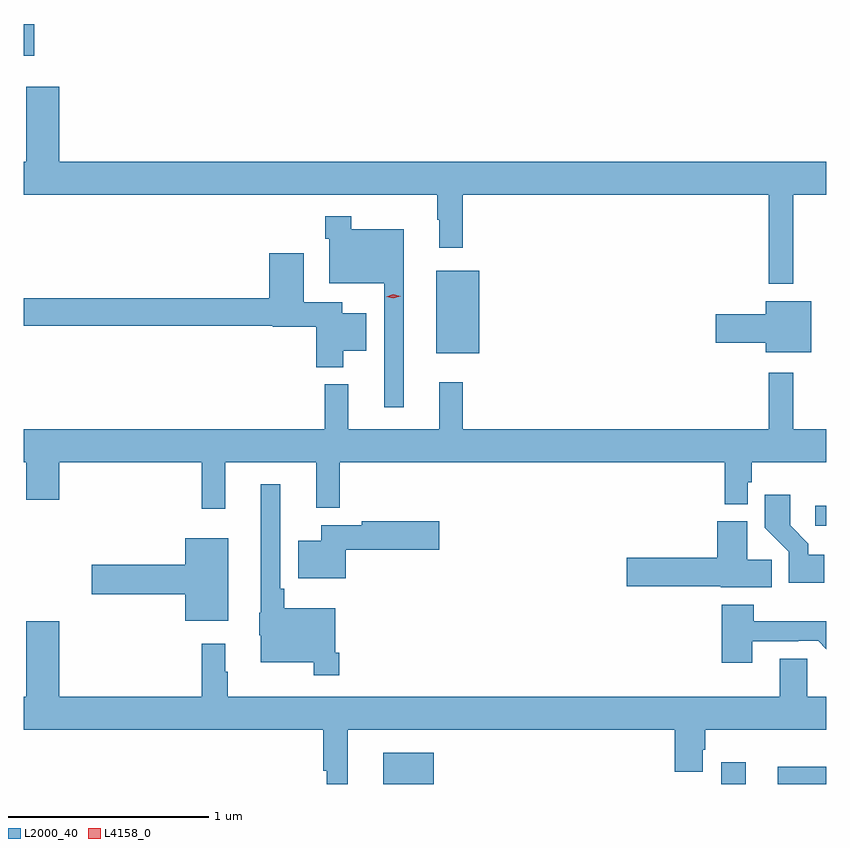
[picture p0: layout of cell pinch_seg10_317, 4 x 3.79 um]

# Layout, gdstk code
import gdstk
lib = gdstk.Library(unit=1e-6, precision=1e-09)
def R(c, l, rs):  # rectangles x0, y0, x1, y1
    for r in rs: c.add(gdstk.rectangle(r[:2], r[2:], *l))
def P(c, l, *ps):  # polygons
    for p in ps: c.add(gdstk.Polygon(p, *l))
L2000_40 = (2000, 40)
L4158_0 = (4158, 0)

pinch_seg10_317 = lib.new_cell('pinch_seg10_317')
R(pinch_seg10_317, L2000_40, [(406.547,1278.733,406.798,1278.889), (408.23,1278.733,408.352,1278.841), (408.513,1278.733,408.755,1278.818), (408.699,1280.019,408.755,1280.118), (406.811,1280.879,407.026,1281.289), (404.755,1282.361,404.809,1282.519)])
P(pinch_seg10_317, L2000_40, [(408.589,1281.668),(408.755,1281.668),(408.755,1281.832),(404.932,1281.832),(404.932,1282.207),(404.768,1282.207),(404.768,1281.832),(404.755,1281.832),(404.755,1281.668),(406.815,1281.668),(406.815,1281.545),(406.826,1281.545),(406.826,1281.405),(406.943,1281.405),(406.943,1281.668),(408.468,1281.668),(408.468,1281.224),(408.589,1281.224)],
  [(406.648,1281.496),(406.387,1281.496),(406.387,1281.562),(406.258,1281.562),(406.258,1281.449),(406.278,1281.449),(406.278,1281.227),(406.551,1281.227),(406.551,1280.61),(406.648,1280.61)],
  [(406.348,1280.891),(406.462,1280.891),(406.462,1281.079),(406.342,1281.079),(406.342,1281.133),(406.15,1281.133),(406.15,1281.376),(405.98,1281.376),(405.98,1281.152),(404.755,1281.152),(404.755,1281.016),(405.996,1281.016),(405.996,1281.011),(406.214,1281.011),(406.214,1280.81),(406.348,1280.81)],
  [(408.679,1281.139),(408.452,1281.139),(408.452,1281.074),(408.204,1281.074),(408.204,1280.932),(408.452,1280.932),(408.452,1280.885),(408.679,1280.885)],
  [(405.761,1280.336),(406.214,1280.336),(406.214,1280.108),(406.331,1280.108),(406.331,1280.336),(408.247,1280.336),(408.247,1280.126),(408.363,1280.126),(408.363,1280.235),(408.383,1280.235),(408.383,1280.336),(408.755,1280.336),(408.755,1280.5),(408.589,1280.5),(408.589,1280.782),(408.468,1280.782),(408.468,1280.5),(406.943,1280.5),(406.943,1280.734),(406.826,1280.734),(406.826,1280.5),(406.373,1280.5),(406.373,1280.725),(406.255,1280.725),(406.255,1280.5),(404.755,1280.5),(404.755,1280.336),(404.768,1280.336),(404.768,1280.148),(404.932,1280.148),(404.932,1280.336),(405.643,1280.336),(405.643,1280.103),(405.761,1280.103)],
  [(406.328,1279.387),(406.308,1279.387),(406.308,1279.609),(406.055,1279.609),(406.055,1279.705),(406.035,1279.705),(406.035,1280.227),(405.938,1280.227),(405.938,1279.587),(405.929,1279.587),(405.929,1279.473),(405.938,1279.473),(405.938,1279.34),(406.2,1279.34),(406.2,1279.275),(406.328,1279.275)],
  [(408.745,1279.876),(408.664,1279.876),(408.664,1279.931),(408.574,1280.021),(408.574,1280.173),(408.448,1280.173),(408.448,1280.01),(408.567,1279.891),(408.567,1279.736),(408.745,1279.736)],
  [(406.36,1279.901),(406.825,1279.901),(406.825,1280.043),(406.44,1280.043),(406.44,1280.023),(406.238,1280.023),(406.238,1279.945),(406.124,1279.945),(406.124,1279.757),(406.36,1279.757)],
  [(408.482,1279.85),(408.361,1279.85),(408.361,1280.041),(408.212,1280.041),(408.212,1279.86),(407.76,1279.86),(407.76,1279.718),(408.228,1279.718),(408.228,1279.712),(408.482,1279.712)],
  [(405.775,1279.957),(405.56,1279.957),(405.56,1279.826),(405.096,1279.826),(405.096,1279.679),(405.56,1279.679),(405.56,1279.547),(405.775,1279.547)],
  [(408.385,1279.443),(408.614,1279.443),(408.614,1279.446),(408.714,1279.446),(408.755,1279.405),(408.755,1279.543),(408.393,1279.543),(408.393,1279.627),(408.233,1279.627),(408.233,1279.338),(408.385,1279.338)],
  [(406.369,1279.004),(407.999,1279.004),(407.999,1278.793),(408.139,1278.793),(408.139,1278.903),(408.152,1278.903),(408.152,1279.004),(408.755,1279.004),(408.755,1279.168),(408.66,1279.168),(408.66,1279.358),(408.521,1279.358),(408.521,1279.168),(405.772,1279.168),(405.772,1279.292),(405.76,1279.292),(405.76,1279.432),(405.643,1279.432),(405.643,1279.168),(404.932,1279.168),(404.932,1279.543),(404.768,1279.543),(404.768,1279.168),(404.755,1279.168),(404.755,1279.004),(406.248,1279.004),(406.248,1278.799),(406.265,1278.799),(406.265,1278.733),(406.369,1278.733)])
P(pinch_seg10_317, L4158_0, [(406.598,1281.152),(406.562,1281.16),(406.561,1281.16),(406.562,1281.161),(406.597,1281.172),(406.633,1281.164),(406.633,1281.164),(406.633,1281.164)])

lib.write_gds('pinch_seg10_317.gds')
